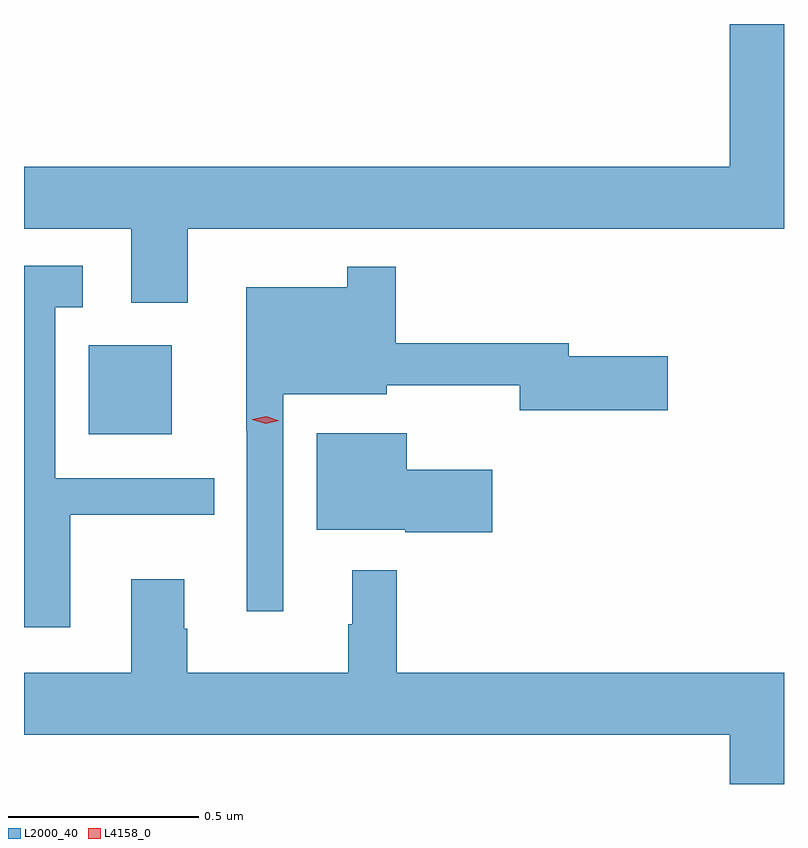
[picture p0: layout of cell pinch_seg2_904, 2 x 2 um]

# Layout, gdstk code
import gdstk
lib = gdstk.Library(unit=1e-6, precision=1e-09)
def R(c, l, rs):  # rectangles x0, y0, x1, y1
    for r in rs: c.add(gdstk.rectangle(r[:2], r[2:], *l))
def P(c, l, *ps):  # polygons
    for p in ps: c.add(gdstk.Polygon(p, *l))
L2000_40 = (2000, 40)
L4158_0 = (4158, 0)

pinch_seg2_904 = lib.new_cell('pinch_seg2_904')
R(pinch_seg2_904, L2000_40, [(498.986,628.448,499.204,628.681)])
P(pinch_seg2_904, L2000_40, [(499.246,628.988),(500.815,628.988),(500.815,629.527),(500.672,629.527),(500.672,629.152),(498.815,629.152),(498.815,628.988),(499.097,628.988),(499.097,628.794),(499.246,628.794)],
  [(498.937,628.235),(499.316,628.235),(499.316,628.332),(498.897,628.332),(498.897,628.781),(498.97,628.781),(498.97,628.891),(498.815,628.891),(498.815,627.939),(498.937,627.939)],
  [(499.497,628.553),(499.77,628.553),(499.77,628.576),(500.12,628.576),(500.12,628.511),(500.509,628.511),(500.509,628.653),(500.248,628.653),(500.248,628.687),(499.793,628.687),(499.793,628.888),(499.665,628.888),(499.665,628.834),(499.4,628.834),(499.4,628.457),(499.401,628.457),(499.401,627.981),(499.497,627.981)],
  [(500.047,628.354),(499.822,628.354),(499.822,628.45),(499.586,628.45),(499.586,628.196),(499.818,628.196),(499.818,628.189),(500.047,628.189)],
  [(500.815,627.82),(499.796,627.82),(499.796,628.09),(499.679,628.09),(499.679,627.947),(499.668,627.947),(499.668,627.82),(499.245,627.82),(499.245,627.935),(499.237,627.935),(499.237,628.066),(499.097,628.066),(499.097,627.82),(498.815,627.82),(498.815,627.656),(500.672,627.656),(500.672,627.527),(500.815,627.527)])
P(pinch_seg2_904, L4158_0, [(499.451,628.475),(499.416,628.486),(499.416,628.487),(499.416,628.487),(499.452,628.495),(499.487,628.483),(499.487,628.483),(499.487,628.483)])

lib.write_gds('pinch_seg2_904.gds')
